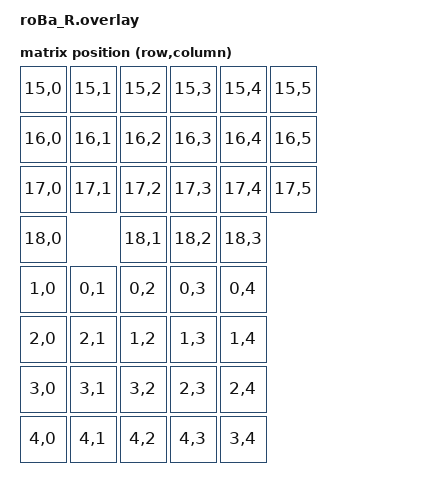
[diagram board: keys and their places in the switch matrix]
#include "roBa.dtsi"
#include <dt-bindings/zmk/matrix_transform.h>

&xiao_serial {
    status = "disabled";
};

/ {
    chosen {
        zmk,matrix-transform = &right_transform;
    };

    right_transform: matrix_transform {
        compatible = "zmk,matrix-transform";
        rows = <19>;
        columns = <6>;
        map = <
            /* 前半22キー分は左手用。右手が誤爆しないようにダミー（15〜18列目）で埋めます */
            RC(15,0) RC(15,1) RC(15,2) RC(15,3) RC(15,4) RC(15,5)
            RC(16,0) RC(16,1) RC(16,2) RC(16,3) RC(16,4) RC(16,5)
            RC(17,0) RC(17,1) RC(17,2) RC(17,3) RC(17,4) RC(17,5)
            RC(18,0)          RC(18,1) RC(18,2) RC(18,3)

            /* ここからが右手用の20キー。右手の基板から出る生の信号をここに割り当てます */
            RC(1,0) RC(0,1) RC(0,2) RC(0,3) RC(0,4)
            RC(2,0) RC(2,1) RC(1,2) RC(1,3) RC(1,4)
            RC(3,0) RC(3,1) RC(3,2) RC(2,3) RC(2,4)
            RC(4,0) RC(4,1) RC(4,2) RC(4,3) RC(3,4)
        >;
    };
};

&kscan0 {
    compatible = "zmk,kscan-gpio-charlieplex";
    wakeup-source;
    interrupt-gpios = <&xiao_d 0 (GPIO_ACTIVE_HIGH | GPIO_PULL_DOWN) >;
    gpios
        = <&xiao_d 1 GPIO_ACTIVE_HIGH>
        , <&xiao_d 2 GPIO_ACTIVE_HIGH>
        , <&xiao_d 3 GPIO_ACTIVE_HIGH>
        , <&xiao_d 6 GPIO_ACTIVE_HIGH>
        , <&xiao_d 7 GPIO_ACTIVE_HIGH>
        , <&xiao_d 8 GPIO_ACTIVE_HIGH>
        ;
};
